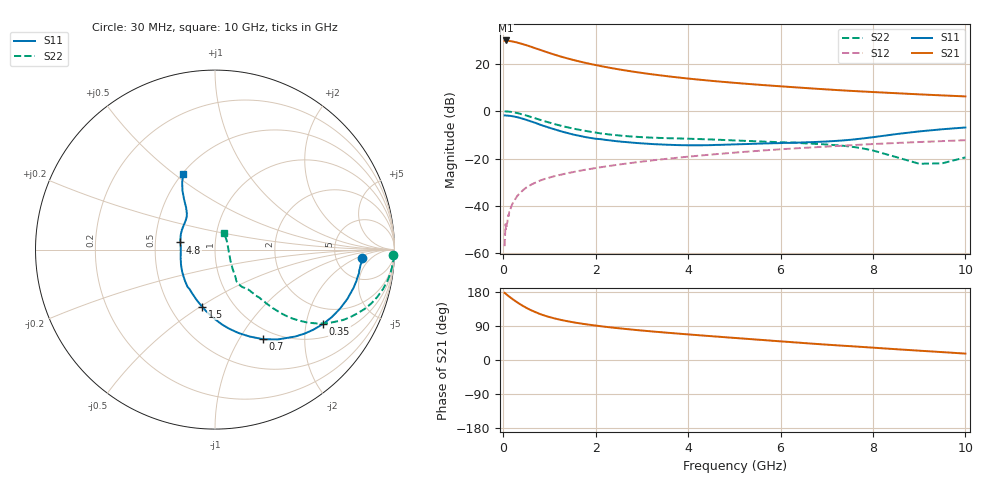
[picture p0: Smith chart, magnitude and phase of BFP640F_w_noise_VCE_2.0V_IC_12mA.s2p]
! Infineon Technologies  Discrete & RF Semiconductors
! BFP640F
! VCE =  2.0 V,  IC =  12 mA
! Common Emitter S-Parameters:  Apr 2013
# GHz  S  MA  R  50
!  f  S11  S21  S12  S22
! GHz  MAG  ANG  MAG  ANG  MAG  ANG  MAG  ANG
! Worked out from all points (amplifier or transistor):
!   99 points, 30 MHz to 10 GHz, reference 50 ohm
!   highest |S21| = 30.0 dB at 50 MHz (marker M1)
!   |S21| within 3 dB of that: start of sweep to 649.9 MHz
!   unconditionally stable (mu >= 1): 2.855 GHz to end of sweep
!   at 350 MHz: K = 0.23, MSG = 31.8 dB, |S12| = -34.8 dB
!   at 3.5 GHz: K = 1.03, MAG = 16.5 dB, |S12| = -20.2 dB
!   at 10 GHz: K = 1.06, MAG = 7.8 dB, |S12| = -12.2 dB
!   lowest NFmin = 0.68 dB at 450 MHz
!   S11 on the Smith chart (normalised r, x): 30 MHz: 9.37, -2.53; 350 MHz: 1.41, -2.51; 700 MHz: 0.87, -1.27; 1.5 GHz: 0.72, -0.51; 4.8 GHz: 0.68, +0.06; 10 GHz: 0.51, +0.54
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0.03  0.8192 -3.1  31.16 177.1  0.0014 108.3  0.9937 -1.8
0.05  0.8186 -5.3  31.58 175.2  0.0041 78.5  0.9971 -3.2
0.12  0.8072 -12.5  31.02 168.3  0.0061 82.2  0.9858 -8.0
0.2  0.7866 -20.6  30.1 160.9  0.0111 83.1  0.9616 -13.2
0.3  0.7512 -30.1  28.59 152.4  0.016 78.8  0.9201 -19.1
0.35  0.7312 -34.5  27.61 148.5  0.0181 75.1  0.8953 -21.8
0.4  0.7071 -39.1  26.86 144.6  0.0202 73.5  0.8671 -24.3
0.5  0.6591 -47.3  25.07 137.6  0.0244 70.9  0.8143 -28.8
0.6  0.6114 -54.9  23.26 131.5  0.0279 68.8  0.7597 -32.5
0.7  0.5673 -61.7  21.49 126.2  0.0311 66.1  0.7082 -35.6
0.8  0.5205 -68.4  19.95 121.1  0.0343 65.1  0.6599 -38.1
1  0.4488 -79.7  17.13 113.3  0.0396 62.9  0.5772 -41.7
1.2  0.3907 -89.5  14.87 107.1  0.0445 61.7  0.5093 -44.0
1.5  0.3254 -102.8  12.33 99.8  0.0514 60.7  0.4351 -45.8
1.7  0.2957 -110.9  11.04 95.9  0.0562 60.2  0.397 -46.5
2.5  0.2307 -139.4  7.726 83.8  0.0746 58.4  0.3086 -49.4
3.4  0.1992 -163.8  5.764 73.5  0.0955 55.9  0.2731 -51.9
4.8  0.1967 168.3  4.166 60.1  0.1286 50.6  0.2467 -54.8
5.1  0.2008 163.6  3.937 57.4  0.1357 49.3  0.2401 -55.2
6.7  0.2232 139.9  3.039 43.0  0.1725 41.3  0.2063 -55.3
8.5  0.3291 121.6  2.417 28.5  0.2137 31.8  0.1077 -36.5
10  0.4548 113.0  2.067 16.9  0.2447 23.5  0.1059 60.8
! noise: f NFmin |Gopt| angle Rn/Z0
0.45  0.68  0.14  8  0.05
0.9  0.68  0.15  19  0.06
1.5  0.69  0.14  28  0.07
1.9  0.7  0.12  43  0.07
2.4  0.73  0.11  55  0.08
3.5  0.82  0.09  90  0.09
5.5  1.01  0.13  -164  0.12
10  1.55  0.4  -95  0.34
